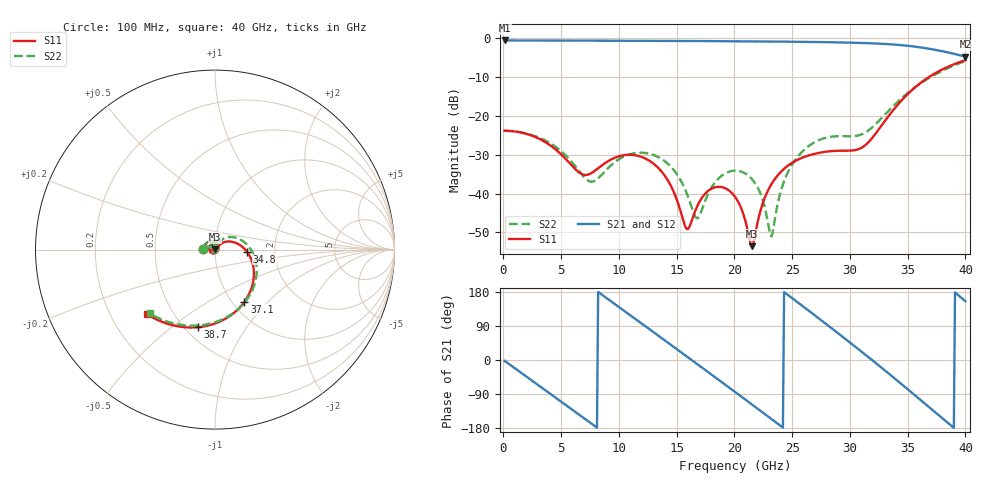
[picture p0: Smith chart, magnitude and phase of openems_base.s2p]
! A_s4_d300_ap1000: L1→L4 through L2/L3, drill Ø0.3, antipad Ø1, 4 GND vias at 1 mm
! stackup: 4-layer 1.6 mm FR-4
! ports: 1, 2
! openEMS 0.37.0, staircase, base mesh (dfine 0.035 mm), 519453 cells
# Hz S RI R 50
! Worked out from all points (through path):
!   400 points, 100 MHz to 40 GHz, reference 50 ohm
!   highest |S21| = -0.58 dB at 100 MHz (marker M1); lowest = -4.8 dB at 40 GHz (marker M2)
!   group delay of S21, straight-line fit = 63.6 ps
!   lowest |S11| = -53.5 dB at 21.5 GHz (marker M3), VSWR 1.00, Z = 50.2 + j0.0794 ohm
!   |S11| at or under -10 dB: start of sweep to 36.84 GHz
!   |S22| runs from -51.0 to -5.9 dB; largest |S21 - S12| = 0.012
!   S11 on the Smith chart (normalised r, x): 100 MHz: 0.88, +0.00; 34.8 GHz: 1.43, -0.03; 37.1 GHz: 1.13, -0.74; 38.7 GHz: 0.58, -0.62; 40 GHz: 0.36, -0.35
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1e8  -0.0644 0.00225  0.9346 -0.0359  0.9346 -0.0359  -0.0642 0.00231
3.6e9  -0.0102 0.045  0.1746 -0.9174  0.1746 -0.9174  -0.0101 0.0474
5.1e9  0.0151 0.0269  -0.3529 -0.8633  -0.3529 -0.8634  0.0154 0.0304
6.8e9  0.0169 -0.00557  -0.8036 -0.4704  -0.8038 -0.4706  0.0175 -0.000936
9.6e9  -0.024 -0.0158  -0.7929 0.4835  -0.7932 0.4839  -0.0231 -0.00981
1.16e10  -0.0285 0.0116  -0.2306 0.8979  -0.2305 0.8985  -0.0277 0.0188
1.34e10  -0.00724 0.0202  0.3986 0.8347  0.399 0.8353  -0.00643 0.0288
1.59e10  0.00301 -0.00175  0.9101 0.1414  0.9113 0.1415  0.00458 0.00871
1.68e10  -0.0031 -0.00626  0.9017 -0.1795  0.903 -0.18  -0.00129 0.00464
1.84e10  -0.012 -0.00145  0.6241 -0.671  0.625 -0.6724  -0.0101 0.0103
2.01e10  -0.0062 0.00637  0.075 -0.9099  0.0749 -0.9117  -0.00413 0.0193
2.15e10  0.00195 0.000791  -0.4119 -0.8114  -0.413 -0.8132  0.00447 0.0148
2.32e10  -0.00455 -0.0124  -0.8244 -0.3751  -0.8269 -0.3759  -0.00128 0.0025
2.45e10  -0.0197 -0.01  -0.8985 0.0827  -0.9012 0.0835  -0.0162 0.00517
2.67e10  -0.0226 0.0224  -0.4997 0.7424  -0.5007 0.7452  -0.0197 0.0389
2.86e10  0.00741 0.0346  0.162 0.871  0.1628 0.8738  0.0104 0.0534
3.07e10  0.0264 0.0261  0.7584 0.4287  0.7616 0.4304  0.0302 0.047
3.34e10  0.0919 0.0441  0.6714 -0.5  0.675 -0.5013  0.0959 0.0698
3.48e10  0.1778 -0.011  0.2497 -0.765  0.2538 -0.7688  0.1854 0.0199
3.71e10  0.1637 -0.2916  -0.469 -0.548  -0.4737 -0.557  0.1882 -0.2631
3.87e10  -0.0944 -0.4322  -0.6384 -0.0961  -0.6506 -0.0957  -0.0675 -0.4201
4e10  -0.3797 -0.3588  -0.5232 0.2422  -0.5296 0.2525  -0.363 -0.3558
